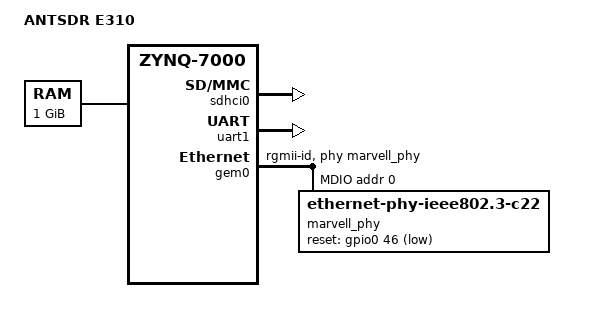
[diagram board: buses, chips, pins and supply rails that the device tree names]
// SPDX-License-Identifier: GPL-2.0+
/* Original ANTSDR E310 (ant): MIO GEM0, UART1, 32-bit 1 GiB DDR. */
/dts-v1/;
#include "zynq-7000.dtsi"

/ {
	model = "ANTSDR E310";
	compatible = "microphase,antsdr-e310", "xlnx,zynq-7000";
	aliases {
		ethernet0 = &gem0;
		serial0 = &uart0;
		serial1 = &uart1;
		mmc0 = &sdhci0;
	};
	chosen {
		bootargs = "";
		stdout-path = "serial1:115200n8";
	};
	memory@0 {
		device_type = "memory";
		reg = <0x0 0x40000000>;
	};
};

&clkc { ps-clk-frequency = <33333333>; };
&gpio0 { status = "okay"; };
&sdhci0 {
	u-boot,dm-pre-reloc;
	status = "okay";
	disable-wp;
};
&uart0 { status = "disabled"; };
&uart1 {
	u-boot,dm-pre-reloc;
	status = "okay";
};

// GEM0 is available before the PL bitstream is loaded.
&gem0 {
	status = "okay";
	phy-mode = "rgmii-id";
	phy-handle = <&marvell_phy>;
	#address-cells = <1>;
	#size-cells = <0>;
	mdio {
		#address-cells = <1>;
		#size-cells = <0>;
		marvell_phy: ethernet-phy@0 {
			compatible = "ethernet-phy-ieee802.3-c22";
			reg = <0>;
			reset-gpios = <&gpio0 46 1>;
			reset-assert-us = <10000>;
			reset-deassert-us = <10000>;
		};
	};
};
